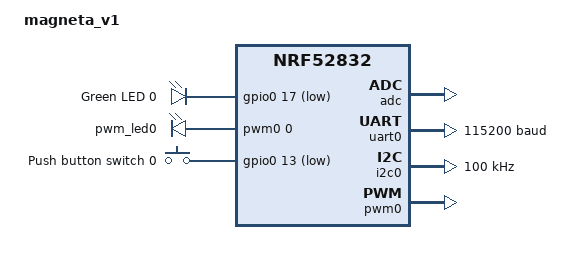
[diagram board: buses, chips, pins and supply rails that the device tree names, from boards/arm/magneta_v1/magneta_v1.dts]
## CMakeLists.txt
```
cmake_minimum_required(VERSION 3.20.0)
find_package(Zephyr REQUIRED HINTS $ENV{ZEPHYR_BASE})

project(magneta)

FILE(GLOB app_sources
    src/*.c
    src/bma400/*.c
    src/bm83/*.c
    src/bm83/*.cpp
)
target_sources(app PRIVATE ${app_sources})

target_include_directories(app PRIVATE
src
src/bma400
src/bm83
)
zephyr_library_include_directories(.)
```

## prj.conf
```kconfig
CONFIG_MAIN_STACK_SIZE=16768



# CONFIG_LOG_PROCESS_THREAD=n
CONFIG_NRFX_UARTE0=y
CONFIG_UART_INTERRUPT_DRIVEN=y
CONFIG_PRINTK=y
CONFIG_SERIAL=y
CONFIG_UART_CONSOLE=n

CONFIG_USE_SEGGER_RTT=y
CONFIG_LOG_BACKEND_RTT=y


CONFIG_UART_0_ASYNC=y
CONFIG_UART_ASYNC_API=y
CONFIG_NRFX_TIMER0=y
CONFIG_UART_0_NRF_TX_BUFFER_SIZE=1000




CONFIG_I2C=y
CONFIG_REGULATOR=y
CONFIG_SENSOR=y
CONFIG_CPLUSPLUS=y
CONFIG_THREAD_CUSTOM_DATA=y




CONFIG_LOG=y
CONFIG_BOOT_BANNER=n
CONFIG_ASSERT=y
```

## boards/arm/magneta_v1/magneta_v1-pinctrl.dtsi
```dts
/*
 * Copyright (c) 2022 Nordic Semiconductor
 * SPDX-License-Identifier: Apache-2.0
 */

 &pinctrl {

	uart0_default: uart0_default {
		group1 {
			psels = <NRF_PSEL(UART_TX, 0, 6)>,
				<NRF_PSEL(UART_RX, 0, 8)>;
				// <NRF_PSEL(UART_RTS, 0, 5)>,
				// <NRF_PSEL(UART_CTS, 0, 7)>;
		};
	};

	uart0_sleep: uart0_sleep {
		group1 {
			psels = <NRF_PSEL(UART_TX, 0, 6)>,
				<NRF_PSEL(UART_RX, 0, 8)>;
				// <NRF_PSEL(UART_RTS, 0, 5)>,
				// <NRF_PSEL(UART_CTS, 0, 7)>;
			low-power-enable;
		};
	};

	i2c0_default: i2c0_default {
		group1 {
			psels = <NRF_PSEL(TWIM_SDA, 0, 26)>,
				<NRF_PSEL(TWIM_SCL, 0, 27)>;
		};
	};

	i2c0_sleep: i2c0_sleep {
		group1 {
			psels = <NRF_PSEL(TWIM_SDA, 0, 26)>,
				<NRF_PSEL(TWIM_SCL, 0, 27)>;
			low-power-enable;
		};
	};

	pwm0_default: pwm0_default {
		group1 {
			psels = <NRF_PSEL(PWM_OUT0, 0, 17)>;
			nordic,invert;
		};
	};

	pwm0_sleep: pwm0_sleep {
		group1 {
			psels = <NRF_PSEL(PWM_OUT0, 0, 17)>;
			low-power-enable;
		};
	};
};
/ {
	zephyr,user {
					bma400int1-gpios = <&gpio0 25 (GPIO_ACTIVE_LOW)>;
					bm83int1-gpios = <&gpio0 24 (GPIO_ACTIVE_LOW)>;
	};
};
```

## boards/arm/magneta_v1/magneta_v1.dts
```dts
// Copyright (c) 2024 Nordic Semiconductor ASA
// SPDX-License-Identifier: Apache-2.0

/dts-v1/;
#include <nordic/nrf52832_qfaa.dtsi>
#include "magneta_v1-pinctrl.dtsi"

/ {
	model = "magneta_v1";
	compatible = "nordic,magneta-v1";

	chosen {
		zephyr,sram = &sram0;
		zephyr,flash = &flash0;
		zephyr,code-partition = &slot0_partition;
	};

leds {
	compatible = "gpio-leds";
	led0: led_0 {
		gpios = <&gpio0 17 GPIO_ACTIVE_LOW>;
		label = "Green LED 0";
	};
};
pwmleds {
	compatible = "pwm-leds";
	pwm_led0: pwm_led_0 {
		pwms = <&pwm0 0 PWM_MSEC(20) PWM_POLARITY_INVERTED>;
	};
};
buttons {
	compatible = "gpio-keys";
	button0: button_0 {
		gpios = <&gpio0 13 (GPIO_PULL_UP | GPIO_ACTIVE_LOW)>;
		label = "Push button switch 0";
	};
};

 aliases {
	led0 = &led0;
	pwm-led0 = &pwm_led0;
	sw0 = &button0;
	bootloader-led0 = &led0;
	mcuboot-button0 = &button0;
	mcuboot-led0 = &led0;
	watchdog0 = &wdt0;
  };
};

&adc {
	status = "okay";
};

&gpiote {
	status = "okay";
};

&gpio0 {
	status = "okay";
};

&uart0 {
	status = "okay";
	compatible = "nordic,nrf-uarte";
	current-speed = <115200>;
	pinctrl-0 = <&uart0_default>;
	pinctrl-1 = <&uart0_sleep>;
	pinctrl-names = "default", "sleep";
};

&i2c0 {
	compatible = "nordic,nrf-twim";
	status = "okay";
  clock-frequency = <I2C_BITRATE_STANDARD>;
	zephyr,concat-buf-size = <1024>;
	pinctrl-0 = <&i2c0_default>;
	pinctrl-1 = <&i2c0_sleep>;
	pinctrl-names = "default", "sleep";
};

&pwm0 {
	status = "okay";
	pinctrl-0 = <&pwm0_default>;
	pinctrl-1 = <&pwm0_sleep>;
	pinctrl-names = "default", "sleep";
};

&flash0 {
	partitions {
		compatible = "fixed-partitions";
		#address-cells = <1>;
		#size-cells = <1>;

		boot_partition: partition@0 {
			label = "mcuboot";
			reg = <0x0 0xc000>;
		};
		slot0_partition: partition@c000 {
			label = "image-0";
			reg = <0xc000 0x32000>;
		};
		slot1_partition: partition@3e000 {
			label = "image-1";
			reg = <0x3e000 0x32000>;
		};
		scratch_partition: partition@70000 {
			label = "image-scratch";
			reg = <0x70000 0xa000>;
		};
		storage_partition: partition@7a000 {
			label = "storage";
			reg = <0x7a000 0x6000>;
		};
	};
};
```

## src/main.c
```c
#include "app.h"
#include "board.h"
#include <zephyr/logging/log.h>
LOG_MODULE_REGISTER(main);

void main(){

  LOG_INF("MAGNETA FW ver: %d.%d.%d", FIRMWARE_VERSION_MAJOR, FIRMWARE_VERSION_MINOR, FIRMWARE_VERSION_PATCH);
  app_start();
}
```

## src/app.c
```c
#include <errno.h>
#include <zephyr/kernel.h>
#include <zephyr/device.h>
#include <zephyr/drivers/i2c.h>
#include "bma400_service.h"
#include <zephyr/kernel.h>
#include <zephyr/device.h>
#include <zephyr/drivers/gpio.h>
#include <zephyr/logging/log.h>
#include "iso2083.h"
#include "button.h"
LOG_MODULE_REGISTER(app);

#define MY_STACK_SIZE 8192
K_THREAD_STACK_DEFINE(my_stack_area1, MY_STACK_SIZE);
struct k_thread bm400_process_thread;

static const struct gpio_dt_spec bma400_interrupt = GPIO_DT_SPEC_GET(DT_PATH(zephyr_user), bma400int1_gpios);
static const struct gpio_dt_spec bm83_interrupt = GPIO_DT_SPEC_GET(DT_PATH(zephyr_user), bm83int1_gpios);

void bm83_interrupted(const struct device *dev, struct gpio_callback *cb, uint32_t pins)
{
  LOG_INF("BM83 INTERUPT");
}

void bm400_interrupted(const struct device *dev, struct gpio_callback *cb, uint32_t pins)
{
  LOG_INF("BMA400 INTERUPT");
}

void enable_bm83()
{
  struct device *gpio_dev = DEVICE_DT_GET(DT_NODELABEL(gpio0));

  gpio_pin_configure(gpio_dev, 2, GPIO_OUTPUT_HIGH);
  k_sleep(K_MSEC(100));
  gpio_pin_configure(gpio_dev, 2, GPIO_OUTPUT_LOW);
}

void app_start()
{
  static struct gpio_callback bma400_interrupt_cb_data;
  LOG_INF("DEVICE START");
  gpio_pin_interrupt_configure_dt(&bma400_interrupt, GPIO_INT_EDGE_FALLING);
  gpio_init_callback(&bma400_interrupt_cb_data, bm400_interrupted, BIT(bma400_interrupt.pin));
  gpio_add_callback(bma400_interrupt.port, &bma400_interrupt_cb_data);

  static struct gpio_callback bm83_interrupt_cb_data;

  gpio_pin_interrupt_configure_dt(&bm83_interrupt, GPIO_INT_EDGE_FALLING);
  gpio_init_callback(&bm83_interrupt_cb_data, bm83_interrupted, BIT(bm83_interrupt.pin));
  gpio_add_callback(bm83_interrupt.port, &bm83_interrupt_cb_data);

  LOG_INF("INterupt ready");
  uart_init();
  enable_bm83();
  bm83_init();
  button_init();
  LOG_INF("BM83 START");
  // bma400_service_init();

  while (1)
  {

    LOG_INF("Hello");
    k_sleep(K_MSEC(1000));
  }
}
```

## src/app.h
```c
#ifndef __APP_H__
#define __APP_H__

void app_start();
#endif
```

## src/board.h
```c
#ifndef __BOARD_H__
#define __BOARD_H__

#define FIRMWARE_VERSION_MAJOR 1
#define FIRMWARE_VERSION_MINOR 0
#define FIRMWARE_VERSION_PATCH 0

#endif
```

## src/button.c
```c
#include <zephyr/kernel.h>
#include <zephyr/device.h>
#include <zephyr/drivers/gpio.h>
#include <zephyr/sys/util.h>
#include <inttypes.h>
#include "button.h"
#include "iso2083.h"
#define MODULE button
#include <zephyr/logging/log.h>
LOG_MODULE_REGISTER(MODULE);
#define SLEEP_TIME_MS 1
#define SW0_NODE DT_ALIAS(sw0)
#if !DT_NODE_HAS_STATUS(SW0_NODE, okay)
#error "Unsupported board: sw0 devicetree alias is not defined"
#endif
static const struct gpio_dt_spec button = GPIO_DT_SPEC_GET_OR(SW0_NODE, gpios,
                                                              {0});
static struct gpio_callback button_cb_data;
bool button_pressed = false;
static uint64_t button_press_time_in_sec = 0;
char phoneNumber[19] = {'0', '8', '7', '8', '9', '1', '2', '9', '4', '7', 0, 0, 0, 0, 0, 0, 0, 0, 0};

void button_processed(uint64_t press_time_ms)
{
  if (press_time_ms >= BUTTON_PRESS_VERY_LONG_TIME_MS)
  {
    bm83_enable_pair_mode();
  }
  else if (press_time_ms <= BUTTON_PRESS_LONG_TIME_MS)
  {

    iso2083_make_call(phoneNumber);
  }
}

void button_pressed_cb(const struct device *dev, struct gpio_callback *cb,
                       uint32_t pins)
{

  if (button_pressed == true)
  {
    button_pressed = false;

    button_processed((k_uptime_get() - button_press_time_in_sec) / 1000);
  }
  else
  {
    button_pressed = true;
    button_press_time_in_sec = k_uptime_get();
  }
}

int button_init()
{
  int ret = 0;

  if (!device_is_ready(button.port))
  {
    LOG_ERR("Error: button device %s is not ready",
            button.port->name);
    return -1;
  }

  ret = gpio_pin_configure_dt(&button, GPIO_INPUT);
  if (ret != 0)
  {
    LOG_ERR("Error %d: failed to configure %s pin %d",
            ret, button.port->name, button.pin);
    return -2;
  }

  ret = gpio_pin_interrupt_configure_dt(&button,
                                        GPIO_INT_EDGE_BOTH);
  if (ret != 0)
  {
    LOG_ERR("Error %d: failed to configure interrupt on %s pin %d",
            ret, button.port->name, button.pin);
    return -3;
  }

  gpio_init_callback(&button_cb_data, button_pressed_cb, BIT(button.pin));
  gpio_add_callback(button.port, &button_cb_data);

  return 0;
}
```

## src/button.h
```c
#ifndef __BUTTON_H__
#define __BUTTON_H__

#define BOTTON_GPIO_STATE_PRESSED    1
#define BOTTON_GPIO_STATE_RELEASED   0

#define BUTTON_PRESS_SHORT_TIME_MS      100
#define BUTTON_PRESS_LONG_TIME_MS       1000
#define BUTTON_PRESS_VERY_LONG_TIME_MS  3000

int button_init();

#endif
```
